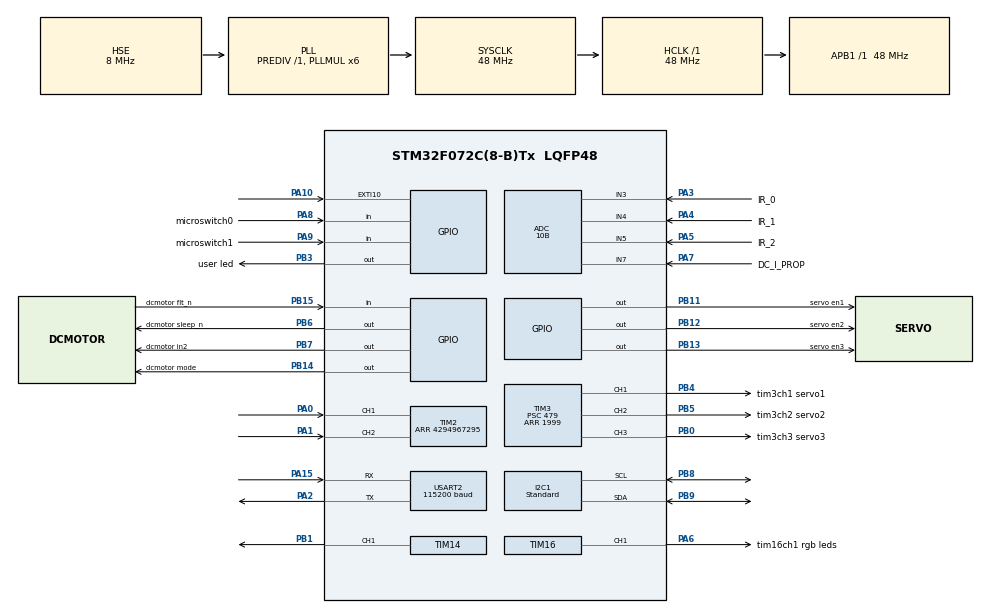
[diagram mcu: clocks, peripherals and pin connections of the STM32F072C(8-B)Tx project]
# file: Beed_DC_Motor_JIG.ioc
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ADC.ContinuousConvMode=ENABLE
ADC.DMAContinuousRequests=ENABLE
ADC.Resolution=ADC_RESOLUTION_10B
ADC.SamplingTime=ADC_SAMPLETIME_71CYCLES_5
Dma.ADC.0.Direction=DMA_PERIPH_TO_MEMORY
Dma.ADC.0.Instance=DMA1_Channel1
Dma.ADC.0.MemDataAlignment=DMA_MDATAALIGN_HALFWORD
Dma.ADC.0.MemInc=DMA_MINC_ENABLE
Dma.ADC.0.Mode=DMA_CIRCULAR
Dma.ADC.0.PeriphDataAlignment=DMA_PDATAALIGN_HALFWORD
Dma.ADC.0.PeriphInc=DMA_PINC_DISABLE
Dma.ADC.0.Priority=DMA_PRIORITY_LOW
Dma.Request0=ADC
Dma.Request1=TIM16_CH1/UP
Dma.Request2=USART2_RX
Dma.TIM16_CH1/UP.1.Direction=DMA_MEMORY_TO_PERIPH
Dma.TIM16_CH1/UP.1.Instance=DMA1_Channel3
Dma.TIM16_CH1/UP.1.MemDataAlignment=DMA_MDATAALIGN_HALFWORD
Dma.TIM16_CH1/UP.1.MemInc=DMA_MINC_ENABLE
Dma.TIM16_CH1/UP.1.Mode=DMA_NORMAL
Dma.TIM16_CH1/UP.1.PeriphDataAlignment=DMA_PDATAALIGN_HALFWORD
Dma.TIM16_CH1/UP.1.PeriphInc=DMA_PINC_DISABLE
Dma.TIM16_CH1/UP.1.Priority=DMA_PRIORITY_VERY_HIGH
Dma.USART2_RX.2.Direction=DMA_PERIPH_TO_MEMORY
Dma.USART2_RX.2.Instance=DMA1_Channel5
Dma.USART2_RX.2.MemDataAlignment=DMA_MDATAALIGN_BYTE
Dma.USART2_RX.2.MemInc=DMA_MINC_ENABLE
Dma.USART2_RX.2.Mode=DMA_NORMAL
Dma.USART2_RX.2.PeriphDataAlignment=DMA_PDATAALIGN_BYTE
Dma.USART2_RX.2.PeriphInc=DMA_PINC_DISABLE
Dma.USART2_RX.2.Priority=DMA_PRIORITY_LOW
I2C1.I2C_Speed_Mode=I2C_Standard
Mcu.Family=STM32F0
Mcu.Name=STM32F072C(8-B)Tx
Mcu.Package=LQFP48
NVIC.DMA1_Channel1_IRQn=true\:0\:0\:false\:false\:true\:false\:true\:true
NVIC.DMA1_Channel2_3_IRQn=true\:0\:0\:false\:false\:true\:false\:true\:true
NVIC.DMA1_Channel4_5_6_7_IRQn=true\:0\:0\:false\:false\:true\:false\:true\:true
NVIC.EXTI4_15_IRQn=true\:0\:0\:false\:false\:true\:true\:true\:true
NVIC.TIM17_IRQn=true\:0\:0\:false\:false\:true\:true\:true\:true
NVIC.USART2_IRQn=true\:0\:0\:false\:true\:true\:1\:true\:true\:true
PA0.Signal=S_TIM2_CH1_ETR
PA1.Signal=S_TIM2_CH2
PA10.Signal=GPXTI10
PA13.Mode=Serial_Wire
PA13.Signal=SYS_SWDIO
PA14.Mode=Serial_Wire
PA14.Signal=SYS_SWCLK
PA15.Mode=Asynchronous
PA15.Signal=USART2_RX
PA2.Mode=Asynchronous
PA2.Signal=USART2_TX
PA3.GPIO_Label=IR_0
PA3.Mode=IN3
PA3.Signal=ADC_IN3
PA4.GPIO_Label=IR_1
PA4.Mode=IN4
PA4.Signal=ADC_IN4
PA5.GPIO_Label=IR_2
PA5.Mode=IN5
PA5.Signal=ADC_IN5
PA6.GPIO_Label=tim16ch1 rgb leds
PA6.GPIO_Speed=GPIO_SPEED_FREQ_HIGH
PA6.Signal=S_TIM16_CH1
PA7.GPIO_Label=DC_I_PROP
PA7.Mode=IN7
PA7.Signal=ADC_IN7
PA8.GPIO_Label=microswitch0
PA8.Signal=GPIO_Input
PA9.GPIO_Label=microswitch1
PA9.Signal=GPIO_Input
PB0.GPIO_Label=tim3ch3 servo3
PB0.Signal=S_TIM3_CH3
PB1.Signal=S_TIM14_CH1
PB11.GPIO_Label=servo en1
PB11.Signal=GPIO_Output
PB12.GPIO_Label=servo en2
PB12.Signal=GPIO_Output
PB13.GPIO_Label=servo en3
PB13.Signal=GPIO_Output
PB14.GPIO_Label=dcmotor mode
PB14.Signal=GPIO_Output
PB15.GPIO_Label=dcmotor flt_n
PB15.Signal=GPIO_Input
PB3.GPIO_Label=user led
PB3.Signal=GPIO_Output
PB4.GPIO_Label=tim3ch1 servo1
PB4.Signal=S_TIM3_CH1
PB5.GPIO_Label=tim3ch2 servo2
PB5.Signal=S_TIM3_CH2
PB6.GPIO_Label=dcmotor sleep_n
PB6.Signal=GPIO_Output
PB7.GPIO_Label=dcmotor in2
PB7.Signal=GPIO_Output
PB8.GPIO_Pu=GPIO_PULLUP
PB8.Mode=I2C
PB8.Signal=I2C1_SCL
PB9.GPIO_Pu=GPIO_PULLUP
PB9.Mode=I2C
PB9.Signal=I2C1_SDA
PF0-OSC_IN.Mode=HSE-External-Oscillator
PF0-OSC_IN.Signal=RCC_OSC_IN
PF1-OSC_OUT.Mode=HSE-External-Oscillator
PF1-OSC_OUT.Signal=RCC_OSC_OUT
ProjectManager.HeapSize=0x200
ProjectManager.StackSize=0x400
ProjectManager.TargetToolchain=STM32CubeIDE
RCC.AHBFreq_Value=48000000
RCC.APB1Freq_Value=48000000
RCC.APB1TimFreq_Value=48000000
RCC.HCLKFreq_Value=48000000
RCC.PLLMUL=RCC_PLL_MUL6
RCC.PLLSourceVirtual=RCC_PLLSOURCE_HSE
RCC.SYSCLKFreq_VALUE=48000000
RCC.SYSCLKSource=RCC_SYSCLKSOURCE_PLLCLK
SH.S_TIM14_CH1.0=TIM14_CH1,PWM Generation1 CH1
SH.S_TIM16_CH1.0=TIM16_CH1,PWM Generation1 CH1
SH.S_TIM2_CH1_ETR.0=TIM2_CH1,Encoder_Interface
SH.S_TIM2_CH2.0=TIM2_CH2,Encoder_Interface
SH.S_TIM3_CH1.0=TIM3_CH1,PWM Generation1 CH1
SH.S_TIM3_CH2.0=TIM3_CH2,PWM Generation2 CH2
SH.S_TIM3_CH3.0=TIM3_CH3,PWM Generation3 CH3
TIM14.Channel=TIM_CHANNEL_1
TIM14.Period=255
TIM14.Prescaler=2
TIM16.Channel=TIM_CHANNEL_1
TIM16.OCFastMode_PWM=TIM_OCFAST_DISABLE
TIM16.OCMode_PWM=TIM_OCMODE_PWM1
TIM16.OCPolarity_1=TIM_OCPOLARITY_HIGH
TIM16.Period=59
TIM16.Prescaler=0
TIM16.Pulse=15
TIM17.Period=99
TIM17.Prescaler=4799
TIM2.EncoderMode=TIM_ENCODERMODE_TI12
TIM2.Period=4294967295
TIM3.Channel-PWM\ Generation1\ CH1=TIM_CHANNEL_1
TIM3.Channel-PWM\ Generation2\ CH2=TIM_CHANNEL_2
TIM3.Channel-PWM\ Generation3\ CH3=TIM_CHANNEL_3
TIM3.Period=1999
TIM3.Prescaler=479
TIM3.Pulse-PWM\ Generation1\ CH1=50
TIM3.Pulse-PWM\ Generation2\ CH2=50
TIM3.Pulse-PWM\ Generation3\ CH3=50
USART2.BaudRate=115200
USART2.VirtualMode-Asynchronous=VM_ASYNC
VP_TIM14_VS_ClockSourceINT.Mode=Enable_Timer
VP_TIM16_VS_ClockSourceINT.Mode=Enable_Timer
VP_TIM17_VS_ClockSourceINT.Mode=Enable_Timer
VP_TIM3_VS_ClockSourceINT.Mode=Internal
board=custom

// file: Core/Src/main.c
/* USER CODE BEGIN Header */
/**
  ******************************************************************************
  * @file           : main.c
  * @brief          : Main program body
  ******************************************************************************
  * @attention
  *
  * Copyright (c) 2022 STMicroelectronics.
  * All rights reserved.
  *
  * This software is licensed under terms that can be found in the LICENSE file
  * in the root directory of this software component.
  * If no LICENSE file comes with this software, it is provided AS-IS.
  *
  ******************************************************************************
  */
/* USER CODE END Header */
#include "main.h"
#include "dc_motor_with_enc.h"
#include "uart.h"
#include "decode_packet.h"
#include "functions.h"
#include "addressable_led.h"

 ADC_HandleTypeDef hadc;
DMA_HandleTypeDef hdma_adc;

I2C_HandleTypeDef hi2c1;

TIM_HandleTypeDef htim2;
TIM_HandleTypeDef htim3;
TIM_HandleTypeDef htim14;
TIM_HandleTypeDef htim16;
TIM_HandleTypeDef htim17;
DMA_HandleTypeDef hdma_tim16_ch1_up;

UART_HandleTypeDef huart2;
DMA_HandleTypeDef hdma_usart2_rx;

/* USER CODE BEGIN PV */

motor_controller dc_motor_1;
uint16_t adc_buffer[4]; //0-3 sensors HW configuration. 3 is dc motor

led_controller led_indicator;

char buf[511]; //uart buff for messaging

long preMillis=0;

/* USER CODE END PV */

void SystemClock_Config(void);
static void MX_GPIO_Init(void);
static void MX_DMA_Init(void);
static void MX_ADC_Init(void);
static void MX_TIM2_Init(void);
static void MX_TIM16_Init(void);
static void MX_TIM3_Init(void);
static void MX_USART2_UART_Init(void);
static void MX_TIM17_Init(void);
static void MX_TIM14_Init(void);
static void MX_I2C1_Init(void);
static void MX_NVIC_Init(void);

int main(void)
{

  /* MCU Configuration--------------------------------------------------------*/

  /* Reset of all peripherals, Initializes the Flash interface and the Systick. */
  HAL_Init();

  /* Configure the system clock */
  SystemClock_Config();

  /* Initialize all configured peripherals */
  MX_GPIO_Init();
  MX_DMA_Init();
  MX_ADC_Init();
  MX_TIM2_Init();
  MX_TIM16_Init();
  MX_TIM3_Init();
  MX_USART2_UART_Init();
  MX_TIM17_Init();
  MX_TIM14_Init();
  MX_I2C1_Init();

  /* Initialize interrupts */
  MX_NVIC_Init();
  /* USER CODE BEGIN 2 */

//------------------------------------------------ADC

  HAL_ADCEx_Calibration_Start(&hadc);
  HAL_ADC_Start_DMA(&hadc, (uint32_t*)adc_buffer, 4);
//  __HAL_DMA_DISABLE_IT(&hdma_adc, DMA_IT_TC | DMA_IT_HT);

//------------------------------------------------UART

  setup_uart();

//-------------------------------------------------motor init

  motor_init(&dc_motor_1, &htim14, TIM_CHANNEL_1, GPIOB, GPIO_PIN_7, GPIOB, GPIO_PIN_6, 1, 2.79);		//timer, direction, sleep, reverse 1 = normal -1 = reverse
  motor_mode(&dc_motor_1, 1);
  spin_motor(&dc_motor_1,0);

//-------------------------------------------------leds

  leds_init(&led_indicator, &htim16, TIM_CHANNEL_1); //only 1 led logic in sequence

//-------------------------------------------------

  /* USER CODE END 2 */

  /* Infinite loop */
  /* USER CODE BEGIN WHILE */
  while (1)
  {
	  if(IsDataAvailable())
	  {
		  char rxBuf[255] = {0};
	 	  int len = read_serial_all(rxBuf);
		  decode_packet(rxBuf, len);
	  }
	  dc_motor_1.max_current_in_move=0;    //reset after sequence
	  preMillis=HAL_GetTick();;
	  sequence_start();

    /* USER CODE END WHILE */

  }
}

void SystemClock_Config(void)
{
  RCC_OscInitTypeDef RCC_OscInitStruct = {0};
  RCC_ClkInitTypeDef RCC_ClkInitStruct = {0};
  RCC_PeriphCLKInitTypeDef PeriphClkInit = {0};

  /** Initializes the RCC Oscillators according to the specified parameters
  * in the RCC_OscInitTypeDef structure.
  */
  RCC_OscInitStruct.OscillatorType = RCC_OSCILLATORTYPE_HSI|RCC_OSCILLATORTYPE_HSI14
                              |RCC_OSCILLATORTYPE_HSE;
  RCC_OscInitStruct.HSEState = RCC_HSE_ON;
  RCC_OscInitStruct.HSIState = RCC_HSI_ON;
  RCC_OscInitStruct.HSI14State = RCC_HSI14_ON;
  RCC_OscInitStruct.HSICalibrationValue = RCC_HSICALIBRATION_DEFAULT;
  RCC_OscInitStruct.HSI14CalibrationValue = 16;
  RCC_OscInitStruct.PLL.PLLState = RCC_PLL_ON;
  RCC_OscInitStruct.PLL.PLLSource = RCC_PLLSOURCE_HSE;
  RCC_OscInitStruct.PLL.PLLMUL = RCC_PLL_MUL6;
  RCC_OscInitStruct.PLL.PREDIV = RCC_PREDIV_DIV1;
  if (HAL_RCC_OscConfig(&RCC_OscInitStruct) != HAL_OK)
  {
    Error_Handler();
  }

  /** Initializes the CPU, AHB and APB buses clocks
  */
  RCC_ClkInitStruct.ClockType = RCC_CLOCKTYPE_HCLK|RCC_CLOCKTYPE_SYSCLK
                              |RCC_CLOCKTYPE_PCLK1;
  RCC_ClkInitStruct.SYSCLKSource = RCC_SYSCLKSOURCE_PLLCLK;
  RCC_ClkInitStruct.AHBCLKDivider = RCC_SYSCLK_DIV1;
  RCC_ClkInitStruct.APB1CLKDivider = RCC_HCLK_DIV1;

  if (HAL_RCC_ClockConfig(&RCC_ClkInitStruct, FLASH_LATENCY_1) != HAL_OK)
  {
    Error_Handler();
  }
  PeriphClkInit.PeriphClockSelection = RCC_PERIPHCLK_USART2|RCC_PERIPHCLK_I2C1;
  PeriphClkInit.Usart2ClockSelection = RCC_USART2CLKSOURCE_PCLK1;
  PeriphClkInit.I2c1ClockSelection = RCC_I2C1CLKSOURCE_HSI;
  if (HAL_RCCEx_PeriphCLKConfig(&PeriphClkInit) != HAL_OK)
  {
    Error_Handler();
  }
}

/**
  * @brief NVIC Configuration.
  * @retval None
  */
static void MX_NVIC_Init(void)
{
  /* USART2_IRQn interrupt configuration */
  HAL_NVIC_SetPriority(USART2_IRQn, 0, 0);
  HAL_NVIC_EnableIRQ(USART2_IRQn);
}

static void MX_ADC_Init(void)
{

  ADC_ChannelConfTypeDef sConfig = {0};

  /** Configure the global features of the ADC (Clock, Resolution, Data Alignment and number of conversion)
  */
  hadc.Instance = ADC1;
  hadc.Init.ClockPrescaler = ADC_CLOCK_ASYNC_DIV1;
  hadc.Init.Resolution = ADC_RESOLUTION_10B;
  hadc.Init.DataAlign = ADC_DATAALIGN_RIGHT;
  hadc.Init.ScanConvMode = ADC_SCAN_DIRECTION_FORWARD;
  hadc.Init.EOCSelection = ADC_EOC_SINGLE_CONV;
  hadc.Init.LowPowerAutoWait = DISABLE;
  hadc.Init.LowPowerAutoPowerOff = DISABLE;
  hadc.Init.ContinuousConvMode = ENABLE;
  hadc.Init.DiscontinuousConvMode = DISABLE;
  hadc.Init.ExternalTrigConv = ADC_SOFTWARE_START;
  hadc.Init.ExternalTrigConvEdge = ADC_EXTERNALTRIGCONVEDGE_NONE;
  hadc.Init.DMAContinuousRequests = ENABLE;
  hadc.Init.Overrun = ADC_OVR_DATA_PRESERVED;
  if (HAL_ADC_Init(&hadc) != HAL_OK)
  {
    Error_Handler();
  }

  /** Configure for the selected ADC regular channel to be converted.
  */
  sConfig.Channel = ADC_CHANNEL_3;
  sConfig.Rank = ADC_RANK_CHANNEL_NUMBER;
  sConfig.SamplingTime = ADC_SAMPLETIME_71CYCLES_5;
  if (HAL_ADC_ConfigChannel(&hadc, &sConfig) != HAL_OK)
  {
    Error_Handler();
  }

  /** Configure for the selected ADC regular channel to be converted.
  */
  sConfig.Channel = ADC_CHANNEL_4;
  if (HAL_ADC_ConfigChannel(&hadc, &sConfig) != HAL_OK)
  {
    Error_Handler();
  }

  /** Configure for the selected ADC regular channel to be converted.
  */
  sConfig.Channel = ADC_CHANNEL_5;
  if (HAL_ADC_ConfigChannel(&hadc, &sConfig) != HAL_OK)
  {
    Error_Handler();
  }

  /** Configure for the selected ADC regular channel to be converted.
  */
  sConfig.Channel = ADC_CHANNEL_7;
  if (HAL_ADC_ConfigChannel(&hadc, &sConfig) != HAL_OK)
  {
    Error_Handler();
  }

}

static void MX_I2C1_Init(void)
{

  hi2c1.Instance = I2C1;
  hi2c1.Init.Timing = 0x2000090E;
  hi2c1.Init.OwnAddress1 = 0;
  hi2c1.Init.AddressingMode = I2C_ADDRESSINGMODE_7BIT;
  hi2c1.Init.DualAddressMode = I2C_DUALADDRESS_DISABLE;
  hi2c1.Init.OwnAddress2 = 0;
  hi2c1.Init.OwnAddress2Masks = I2C_OA2_NOMASK;
  hi2c1.Init.GeneralCallMode = I2C_GENERALCALL_DISABLE;
  hi2c1.Init.NoStretchMode = I2C_NOSTRETCH_DISABLE;
  if (HAL_I2C_Init(&hi2c1) != HAL_OK)
  {
    Error_Handler();
  }

  /** Configure Analogue filter
  */
  if (HAL_I2CEx_ConfigAnalogFilter(&hi2c1, I2C_ANALOGFILTER_ENABLE) != HAL_OK)
  {
    Error_Handler();
  }

  /** Configure Digital filter
  */
  if (HAL_I2CEx_ConfigDigitalFilter(&hi2c1, 0) != HAL_OK)
  {
    Error_Handler();
  }

}

static void MX_TIM2_Init(void)
{

  TIM_Encoder_InitTypeDef sConfig = {0};
  TIM_MasterConfigTypeDef sMasterConfig = {0};

  htim2.Instance = TIM2;
  htim2.Init.Prescaler = 0;
  htim2.Init.CounterMode = TIM_COUNTERMODE_UP;
  htim2.Init.Period = 4294967295;
  htim2.Init.ClockDivision = TIM_CLOCKDIVISION_DIV1;
  htim2.Init.AutoReloadPreload = TIM_AUTORELOAD_PRELOAD_DISABLE;
  sConfig.EncoderMode = TIM_ENCODERMODE_TI12;
  sConfig.IC1Polarity = TIM_ICPOLARITY_RISING;
  sConfig.IC1Selection = TIM_ICSELECTION_DIRECTTI;
  sConfig.IC1Prescaler = TIM_ICPSC_DIV1;
  sConfig.IC1Filter = 0;
  sConfig.IC2Polarity = TIM_ICPOLARITY_RISING;
  sConfig.IC2Selection = TIM_ICSELECTION_DIRECTTI;
  sConfig.IC2Prescaler = TIM_ICPSC_DIV1;
  sConfig.IC2Filter = 0;
  if (HAL_TIM_Encoder_Init(&htim2, &sConfig) != HAL_OK)
  {
    Error_Handler();
  }
  sMasterConfig.MasterOutputTrigger = TIM_TRGO_RESET;
  sMasterConfig.MasterSlaveMode = TIM_MASTERSLAVEMODE_DISABLE;
  if (HAL_TIMEx_MasterConfigSynchronization(&htim2, &sMasterConfig) != HAL_OK)
  {
    Error_Handler();
  }

}

static void MX_TIM3_Init(void)
{

  TIM_ClockConfigTypeDef sClockSourceConfig = {0};
  TIM_MasterConfigTypeDef sMasterConfig = {0};
  TIM_OC_InitTypeDef sConfigOC = {0};

  htim3.Instance = TIM3;
  htim3.Init.Prescaler = 479;
  htim3.Init.CounterMode = TIM_COUNTERMODE_UP;
  htim3.Init.Period = 1999;
  htim3.Init.ClockDivision = TIM_CLOCKDIVISION_DIV1;
  htim3.Init.AutoReloadPreload = TIM_AUTORELOAD_PRELOAD_DISABLE;
  if (HAL_TIM_Base_Init(&htim3) != HAL_OK)
  {
    Error_Handler();
  }
  sClockSourceConfig.ClockSource = TIM_CLOCKSOURCE_INTERNAL;
  if (HAL_TIM_ConfigClockSource(&htim3, &sClockSourceConfig) != HAL_OK)
  {
    Error_Handler();
  }
  if (HAL_TIM_PWM_Init(&htim3) != HAL_OK)
  {
    Error_Handler();
  }
  sMasterConfig.MasterOutputTrigger = TIM_TRGO_RESET;
  sMasterConfig.MasterSlaveMode = TIM_MASTERSLAVEMODE_DISABLE;
  if (HAL_TIMEx_MasterConfigSynchronization(&htim3, &sMasterConfig) != HAL_OK)
  {
    Error_Handler();
  }
  sConfigOC.OCMode = TIM_OCMODE_PWM1;
  sConfigOC.Pulse = 50;
  sConfigOC.OCPolarity = TIM_OCPOLARITY_HIGH;
  sConfigOC.OCFastMode = TIM_OCFAST_DISABLE;
  if (HAL_TIM_PWM_ConfigChannel(&htim3, &sConfigOC, TIM_CHANNEL_1) != HAL_OK)
  {
    Error_Handler();
  }
  if (HAL_TIM_PWM_ConfigChannel(&htim3, &sConfigOC, TIM_CHANNEL_2) != HAL_OK)
  {
    Error_Handler();
  }
  if (HAL_TIM_PWM_ConfigChannel(&htim3, &sConfigOC, TIM_CHANNEL_3) != HAL_OK)
  {
    Error_Handler();
  }
  HAL_TIM_MspPostInit(&htim3);

}

static void MX_TIM14_Init(void)
{

  TIM_OC_InitTypeDef sConfigOC = {0};

  htim14.Instance = TIM14;
  htim14.Init.Prescaler = 2;
  htim14.Init.CounterMode = TIM_COUNTERMODE_UP;
  htim14.Init.Period = 255;
  htim14.Init.ClockDivision = TIM_CLOCKDIVISION_DIV1;
  htim14.Init.AutoReloadPreload = TIM_AUTORELOAD_PRELOAD_DISABLE;
  if (HAL_TIM_Base_Init(&htim14) != HAL_OK)
  {
    Error_Handler();
  }
  if (HAL_TIM_PWM_Init(&htim14) != HAL_OK)
  {
    Error_Handler();
  }
  sConfigOC.OCMode = TIM_OCMODE_PWM1;
  sConfigOC.Pulse = 0;
  sConfigOC.OCPolarity = TIM_OCPOLARITY_HIGH;
  sConfigOC.OCFastMode = TIM_OCFAST_DISABLE;
  if (HAL_TIM_PWM_ConfigChannel(&htim14, &sConfigOC, TIM_CHANNEL_1) != HAL_OK)
  {
    Error_Handler();
  }
  HAL_TIM_MspPostInit(&htim14);

}

static void MX_TIM16_Init(void)
{

  TIM_OC_InitTypeDef sConfigOC = {0};
  TIM_BreakDeadTimeConfigTypeDef sBreakDeadTimeConfig = {0};

  htim16.Instance = TIM16;
  htim16.Init.Prescaler = 0;
  htim16.Init.CounterMode = TIM_COUNTERMODE_UP;
  htim16.Init.Period = 59;
  htim16.Init.ClockDivision = TIM_CLOCKDIVISION_DIV1;
  htim16.Init.RepetitionCounter = 0;
  htim16.Init.AutoReloadPreload = TIM_AUTORELOAD_PRELOAD_DISABLE;
  if (HAL_TIM_Base_Init(&htim16) != HAL_OK)
  {
    Error_Handler();
  }
  if (HAL_TIM_PWM_Init(&htim16) != HAL_OK)
  {
    Error_Handler();
  }
  sConfigOC.OCMode = TIM_OCMODE_PWM1;
  sConfigOC.Pulse = 15;
  sConfigOC.OCPolarity = TIM_OCPOLARITY_HIGH;
  sConfigOC.OCNPolarity = TIM_OCNPOLARITY_HIGH;
  sConfigOC.OCFastMode = TIM_OCFAST_DISABLE;
  sConfigOC.OCIdleState = TIM_OCIDLESTATE_RESET;
  sConfigOC.OCNIdleState = TIM_OCNIDLESTATE_RESET;
  if (HAL_TIM_PWM_ConfigChannel(&htim16, &sConfigOC, TIM_CHANNEL_1) != HAL_OK)
  {
    Error_Handler();
  }
  sBreakDeadTimeConfig.OffStateRunMode = TIM_OSSR_DISABLE;
  sBreakDeadTimeConfig.OffStateIDLEMode = TIM_OSSI_DISABLE;
  sBreakDeadTimeConfig.LockLevel = TIM_LOCKLEVEL_OFF;
  sBreakDeadTimeConfig.DeadTime = 0;
  sBreakDeadTimeConfig.BreakState = TIM_BREAK_DISABLE;
  sBreakDeadTimeConfig.BreakPolarity = TIM_BREAKPOLARITY_HIGH;
  sBreakDeadTimeConfig.AutomaticOutput = TIM_AUTOMATICOUTPUT_DISABLE;
  if (HAL_TIMEx_ConfigBreakDeadTime(&htim16, &sBreakDeadTimeConfig) != HAL_OK)
  {
    Error_Handler();
  }
  HAL_TIM_MspPostInit(&htim16);

}

static void MX_TIM17_Init(void)
{

  htim17.Instance = TIM17;
  htim17.Init.Prescaler = 4799;
  htim17.Init.CounterMode = TIM_COUNTERMODE_UP;
  htim17.Init.Period = 99;
  htim17.Init.ClockDivision = TIM_CLOCKDIVISION_DIV1;
  htim17.Init.RepetitionCounter = 0;
  htim17.Init.AutoReloadPreload = TIM_AUTORELOAD_PRELOAD_DISABLE;
  if (HAL_TIM_Base_Init(&htim17) != HAL_OK)
  {
    Error_Handler();
  }

}

static void MX_USART2_UART_Init(void)
{

  huart2.Instance = USART2;
  huart2.Init.BaudRate = 115200;
  huart2.Init.WordLength = UART_WORDLENGTH_8B;
  huart2.Init.StopBits = UART_STOPBITS_1;
  huart2.Init.Parity = UART_PARITY_NONE;
  huart2.Init.Mode = UART_MODE_TX_RX;
  huart2.Init.HwFlowCtl = UART_HWCONTROL_NONE;
  huart2.Init.OverSampling = UART_OVERSAMPLING_16;
  huart2.Init.OneBitSampling = UART_ONE_BIT_SAMPLE_DISABLE;
  huart2.AdvancedInit.AdvFeatureInit = UART_ADVFEATURE_NO_INIT;
  if (HAL_UART_Init(&huart2) != HAL_OK)
  {
    Error_Handler();
  }

}

static void MX_DMA_Init(void)
{

  /* DMA controller clock enable */
  __HAL_RCC_DMA1_CLK_ENABLE();

  /* DMA interrupt init */
  /* DMA1_Channel1_IRQn interrupt configuration */
  HAL_NVIC_SetPriority(DMA1_Channel1_IRQn, 0, 0);
  HAL_NVIC_EnableIRQ(DMA1_Channel1_IRQn);
  /* DMA1_Channel2_3_IRQn interrupt configuration */
  HAL_NVIC_SetPriority(DMA1_Channel2_3_IRQn, 0, 0);
  HAL_NVIC_EnableIRQ(DMA1_Channel2_3_IRQn);
  /* DMA1_Channel4_5_6_7_IRQn interrupt configuration */
  HAL_NVIC_SetPriority(DMA1_Channel4_5_6_7_IRQn, 0, 0);
  HAL_NVIC_EnableIRQ(DMA1_Channel4_5_6_7_IRQn);

}

static void MX_GPIO_Init(void)
{
  GPIO_InitTypeDef GPIO_InitStruct = {0};

  /* GPIO Ports Clock Enable */
  __HAL_RCC_GPIOF_CLK_ENABLE();
  __HAL_RCC_GPIOA_CLK_ENABLE();
  __HAL_RCC_GPIOB_CLK_ENABLE();

  /*Configure GPIO pin Output Level */
  HAL_GPIO_WritePin(GPIOB, servo_en1_Pin|servo_en2_Pin|servo_en3_Pin|dcmotor_mode_Pin
                          |user_led_Pin|dcmotor_sleep_n_Pin|dcmotor_in2_Pin, GPIO_PIN_RESET);

  /*Configure GPIO pins : servo_en1_Pin servo_en2_Pin servo_en3_Pin dcmotor_mode_Pin
                           user_led_Pin dcmotor_sleep_n_Pin dcmotor_in2_Pin */
  GPIO_InitStruct.Pin = servo_en1_Pin|servo_en2_Pin|servo_en3_Pin|dcmotor_mode_Pin
                          |user_led_Pin|dcmotor_sleep_n_Pin|dcmotor_in2_Pin;
  GPIO_InitStruct.Mode = GPIO_MODE_OUTPUT_PP;
  GPIO_InitStruct.Pull = GPIO_NOPULL;
  GPIO_InitStruct.Speed = GPIO_SPEED_FREQ_LOW;
  HAL_GPIO_Init(GPIOB, &GPIO_InitStruct);

  /*Configure GPIO pin : dcmotor_flt_n_Pin */
  GPIO_InitStruct.Pin = dcmotor_flt_n_Pin;
  GPIO_InitStruct.Mode = GPIO_MODE_INPUT;
  GPIO_InitStruct.Pull = GPIO_NOPULL;
  HAL_GPIO_Init(dcmotor_flt_n_GPIO_Port, &GPIO_InitStruct);

  /*Configure GPIO pins : microswitch0_Pin microswitch1_Pin */
  GPIO_InitStruct.Pin = microswitch0_Pin|microswitch1_Pin;
  GPIO_InitStruct.Mode = GPIO_MODE_INPUT;
  GPIO_InitStruct.Pull = GPIO_NOPULL;
  HAL_GPIO_Init(GPIOA, &GPIO_InitStruct);

  /*Configure GPIO pin : PA10 */
  GPIO_InitStruct.Pin = GPIO_PIN_10;
  GPIO_InitStruct.Mode = GPIO_MODE_IT_RISING;
  GPIO_InitStruct.Pull = GPIO_NOPULL;
  HAL_GPIO_Init(GPIOA, &GPIO_InitStruct);

  /* EXTI interrupt init*/
  HAL_NVIC_SetPriority(EXTI4_15_IRQn, 0, 0);
  HAL_NVIC_EnableIRQ(EXTI4_15_IRQn);

}

void Error_Handler(void)
{
  __disable_irq();
  while (1)
  {
  }
}
